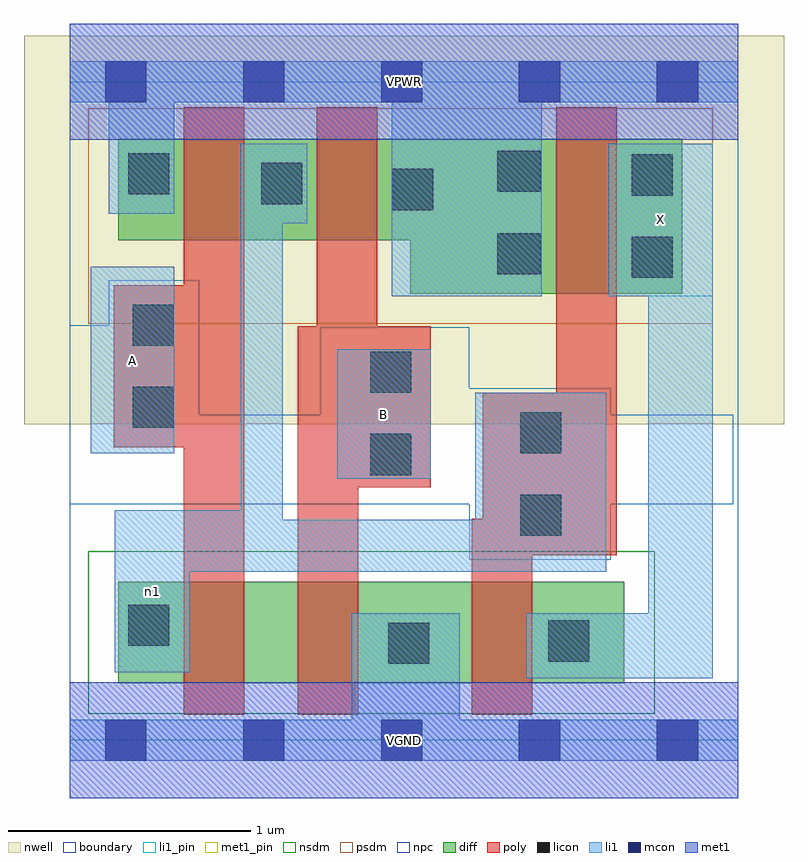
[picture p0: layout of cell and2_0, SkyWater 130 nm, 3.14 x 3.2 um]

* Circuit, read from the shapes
.subckt and2_0 A B VGND VPWR X n1
XM1 n2 A n1 VSUBS sky130_fd_pr__nfet_01v8 w=0.42 l=0.25
XM2 VGND B n2 VSUBS sky130_fd_pr__nfet_01v8 w=0.42 l=0.25
XM3 X n1 VGND VSUBS sky130_fd_pr__nfet_01v8 w=0.42 l=0.25
XM4 n1 A VPWR n3 sky130_fd_pr__pfet_01v8 w=0.42 l=0.25
XM5 VPWR B n1 n3 sky130_fd_pr__pfet_01v8 w=0.42 l=0.25
XM6 X n1 VPWR n3 sky130_fd_pr__pfet_01v8 w=0.64 l=0.25
.ends

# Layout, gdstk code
import gdstk
lib = gdstk.Library(unit=1e-6, precision=1e-09)
def R(c, l, rs):  # rectangles x0, y0, x1, y1
    for r in rs: c.add(gdstk.rectangle(r[:2], r[2:], *l))
def A(c, l, x, y, w, h, nx, ny, dx, dy):  # array of equal rectangles
    R(c, l, [(x+i*dx, y+j*dy, x+i*dx+w, y+j*dy+h) for i in range(nx) for j in range(ny)])
nwell = (64, 20)
diff = (65, 20)
poly = (66, 20)
licon = (66, 44)
li1_pin = (67, 16)
li1 = (67, 20)
mcon = (67, 44)
met1_pin = (68, 16)
met1 = (68, 20)
nsdm = (93, 44)
psdm = (94, 20)
npc = (95, 20)
boundary = (235, 4)

and2_0 = lib.new_cell('and2_0')
R(and2_0, nwell, [(-0.19,1.305,2.95,2.91), (0,1.305,2.76,2.91)])
R(and2_0, diff, [(0.2,0.235,2.29,0.655), (1.405,1.845,2.53,2.485), (0.2,2.065,2.53,2.485)])
R(and2_0, poly, [(0.47,0.105,0.72,2.615), (0.94,0.105,1.19,1.71), (1.66,0.105,1.91,0.915), (1.705,0.765,2.01,1.435), (2.01,0.765,2.26,2.615), (0.94,1.045,1.49,1.71), (1.02,1.045,1.27,2.615), (0.18,1.21,0.72,1.88)])
R(and2_0, licon, [(1.315,0.315,1.485,0.485), (1.975,0.325,2.145,0.495), (0.24,0.39,0.41,0.56), (1.86,0.845,2.03,1.015), (1.24,1.095,1.41,1.265), (1.86,1.185,2.03,1.355), (0.26,1.29,0.43,1.46), (1.24,1.435,1.41,1.605), (0.26,1.63,0.43,1.8), (2.32,1.91,2.49,2.08), (1.765,1.925,1.935,2.095), (1.775,1.925,1.945,2.095), (1.33,2.19,1.5,2.36), (0.79,2.215,0.96,2.385), (2.32,2.25,2.49,2.42), (0.24,2.255,0.41,2.425), (1.765,2.265,1.935,2.435), (1.775,2.265,1.945,2.435)])
R(and2_0, li1_pin, [(1.105,1.08,1.49,1.615), (0.085,1.185,0.43,1.955), (2.225,1.835,2.655,2.465)])
R(and2_0, li1, [(0,-0.085,2.76,0.085), (1.165,-0.085,1.61,0.525), (1.885,0.255,2.655,0.525), (2.39,0.255,2.655,2.465), (0.185,0.28,0.495,0.95), (0.185,0.695,2.215,0.91), (0.185,0.695,0.88,0.95), (0.705,0.695,0.88,2.465), (1.675,0.695,2.215,1.435), (1.105,1.08,1.49,1.615), (0.085,1.185,0.43,1.955), (1.33,1.835,1.95,2.805), (2.225,1.835,2.655,2.465), (0.705,2.135,0.98,2.465), (0.16,2.175,0.43,2.805), (0,2.635,2.76,2.805)])
A(and2_0, mcon, 0.145, -0.085, 0.17, 0.17, 5, 2, 0.57, 2.72)
R(and2_0, met1_pin, [(0,-0.24,2.76,0.24), (0,2.48,2.76,2.96)])
R(and2_0, met1, [(0,-0.24,2.76,0.24), (0,2.48,2.76,2.96)])
R(and2_0, nsdm, [(0.075,0.11,2.415,0.78)])
R(and2_0, psdm, [(0.075,1.72,2.655,2.61)])
R(and2_0, npc, [(1.65,0.745,2.235,1.455), (0,0.975,2.74,1.345), (0,0.975,0.535,1.715), (0.16,0.975,0.535,1.9), (1.035,0.975,1.65,1.705)])
R(and2_0, boundary, [(0,0,2.76,2.72)])
and2_0.add(gdstk.Label('A', (0.257,1.57), layer=67, texttype=5))
and2_0.add(gdstk.Label('B', (1.297,1.347), layer=67, texttype=5))
and2_0.add(gdstk.Label('X', (2.44,2.15), layer=67, texttype=5))
and2_0.add(gdstk.Label('n1', (0.34,0.615), layer=67, texttype=5))
and2_0.add(gdstk.Label('VPWR', (1.38,2.72), layer=68, texttype=5))
and2_0.add(gdstk.Label('VGND', (1.38,0), layer=68, texttype=5))
and2_0.add(gdstk.Label('A', (0.257,1.57), layer=67, texttype=16))
and2_0.add(gdstk.Label('B', (1.297,1.347), layer=67, texttype=16))
and2_0.add(gdstk.Label('X', (2.44,2.15), layer=67, texttype=16))
and2_0.add(gdstk.Label('VPWR', (1.38,2.72), layer=68, texttype=16))
and2_0.add(gdstk.Label('VGND', (1.38,0), layer=68, texttype=16))

lib.write_gds('and2_0.gds')
